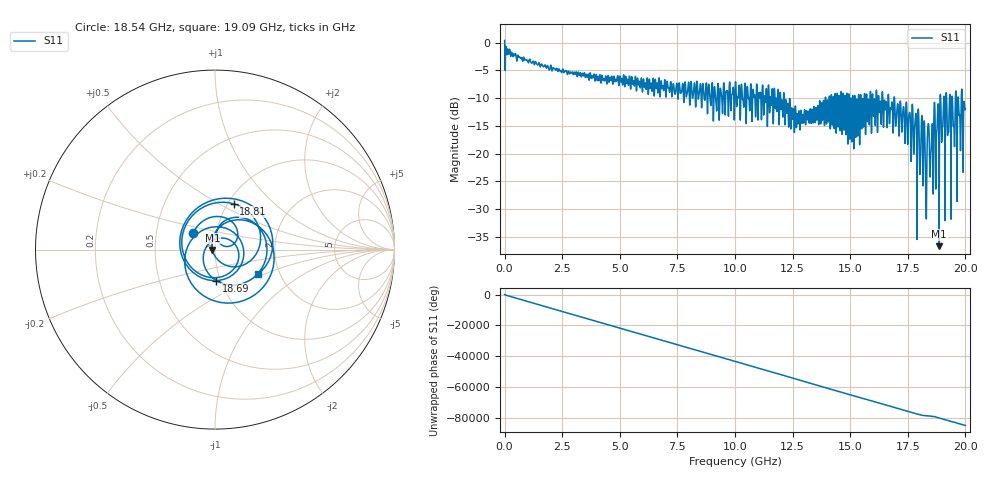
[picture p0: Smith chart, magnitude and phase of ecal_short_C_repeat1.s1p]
! MS46122B
! 2250307/22442219
! 7/23/2025 1:13:07 PM
! C:\USERS\SPARKY\DOCUMENTS\VNA_DATA\JULY23_2025\295K\ECAL_SHORT_C_REPEAT1.S1P
! CHANNEL.1
! TR.MEASUREMENT
! RAW.DATA
# GHZ S RI R 50.0
! FREQ.GHZ  S11RE  S11IM
!; PortSelection: Port_1
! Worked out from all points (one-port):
!   10001 points, 1 MHz to 20 GHz, reference 50 ohm
!   lowest |S11| = -36.7 dB at 18.86 GHz (marker M1), VSWR 1.03, Z = 48.6 - j0.193 ohm
!   |S11| at or under -10 dB: 12.14 GHz to 13.92 GHz (1.779 GHz wide, 13.7 % of centre); 16.67 GHz to 16.9 GHz (234.5 MHz wide, 1.4 % of centre); 16.92 GHz to 18.9 GHz (1.976 GHz wide, 11 % of centre) (the widest 3 of 72)
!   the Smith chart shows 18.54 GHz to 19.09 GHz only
!   S11 on the Smith chart (normalised r, x): 18.54 GHz: 0.77, +0.15; 18.69 GHz: 0.96, -0.34; 18.81 GHz: 1.06, +0.59; 19.09 GHz: 1.54, -0.46
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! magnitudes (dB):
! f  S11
! 1 MHz  0.4
! 2.501 GHz  -5.0
! 5.001 GHz  -6.0
! 7.501 GHz  -8.4
! 10 GHz  -8.4
! 11.79 GHz  -10.0
! 12.5 GHz  -13.8
! 15 GHz  -13.8
! 16.06 GHz  -10.3
! 17.5 GHz  -18.2
! 17.77 GHz  -17.4
! 17.83 GHz  -13.8
! 17.89 GHz  -25.0
! 17.98 GHz  -13.8
! 18.16 GHz  -25.8
! 18.24 GHz  -17.6
! 18.54 GHz  -16.3
! 18.59 GHz  -21.3
! 18.69 GHz  -15.2
! 18.73 GHz  -18.6
! 18.81 GHz  -11.2
! 18.86 GHz  -36.7
! 19.09 GHz  -11.2
! 19.45 GHz  -12.5
! 19.51 GHz  -15.3
! 19.71 GHz  -12.2
! 19.76 GHz  -13.9
! 20 GHz  -11.9
